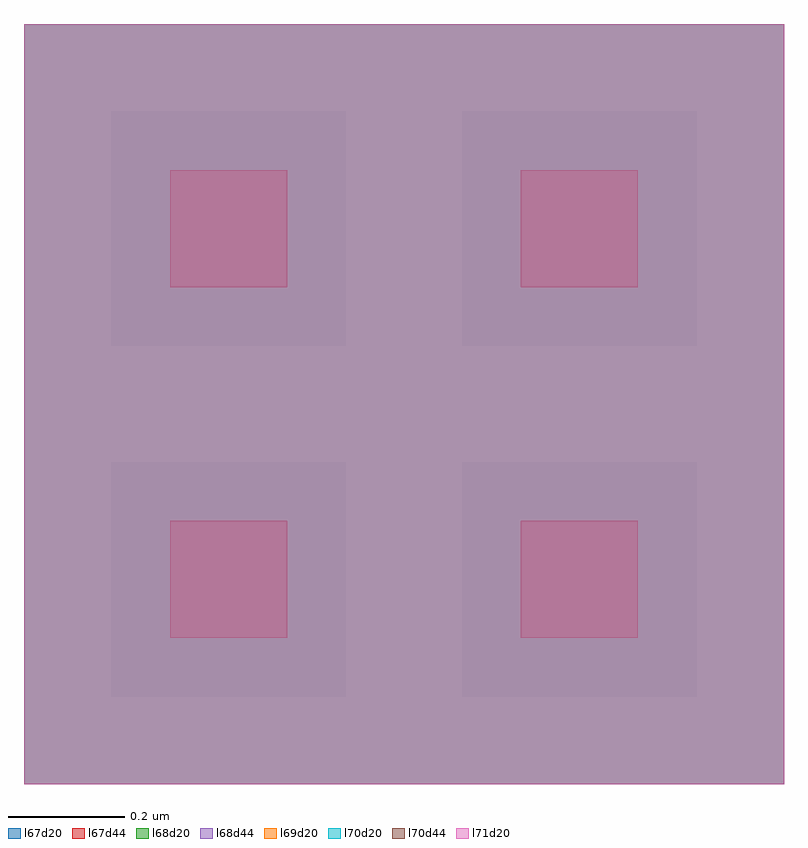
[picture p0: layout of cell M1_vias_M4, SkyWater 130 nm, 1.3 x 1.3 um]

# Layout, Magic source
magic
tech sky130a
<< l67d20 >>
rect -225 -10 -185 30
rect -165 -10 -125 30
rect -225 -70 -185 -30
rect -165 -70 -125 -30
<< l67d44 >>
rect -214 2 -197 19
rect -154 2 -137 19
rect -214 -59 -197 -42
rect -154 -59 -137 -42
<< l68d20 >>
rect -240 -85 -110 45
<< l69d20 >>
rect -240 -85 -110 45
<< l71d20 >>
rect -240 -85 -110 45
<< l70d20 >>
rect -240 -85 -110 45
<< l68d44 >>
rect -213 3 -198 18
rect -153 3 -138 18
rect -213 -58 -198 -43
rect -153 -58 -138 -43
<< l70d44 >>
rect -215 0 -195 20
rect -155 0 -135 20
rect -215 -60 -195 -40
rect -155 -60 -135 -40
<< end >>
